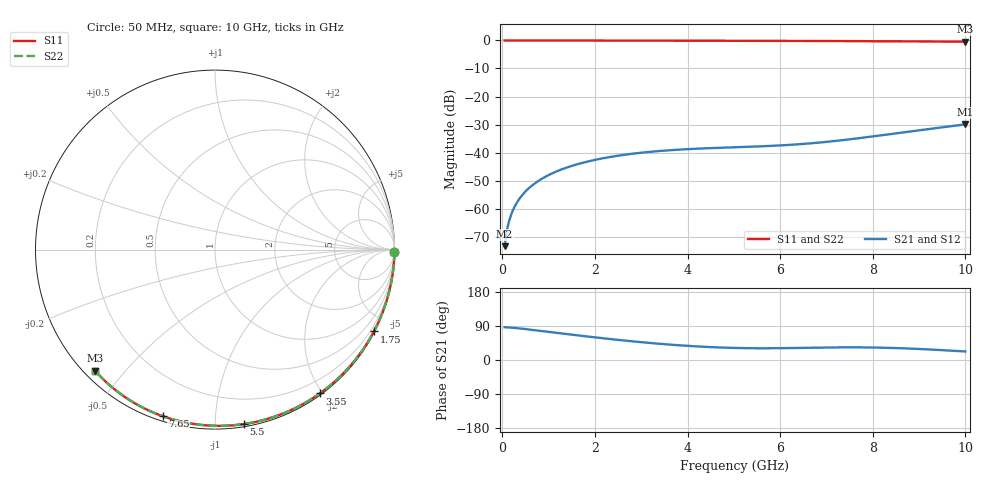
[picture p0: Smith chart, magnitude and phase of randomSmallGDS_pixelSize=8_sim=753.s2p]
! freq	dB(S11)	phase(S11)	dB(S12)	phase(S12)
!  dB(S21)	phase(S21)	dB(S22)	phase(S22)
!S-par simulation data
#  GHz  S  DB  R 50
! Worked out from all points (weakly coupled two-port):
!   200 points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, 50 MHz to 10 GHz, reference 50 ohm
!   highest |S21| = -29.95 dB at 10 GHz (marker M1); lowest = -73.4 dB at 50 MHz (marker M2)
!   lowest |S11| = -0.4 dB at 10 GHz (marker M3), VSWR 38.89, Z = 1.51 - j20.9 ohm
!   |S11| at or under -10 dB: nowhere
!   |S22| runs from -0.4 to 0.0 dB; largest |S21 - S12| = 0
!   S11 on the Smith chart (normalised r, x): 50 MHz: open; 1.75 GHz: 0.04, -4.13; 3.55 GHz: 0.02, -1.97; 5.5 GHz: 0.02, -1.18; 7.65 GHz: 0.02, -0.73; 10 GHz: 0.03, -0.42
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0.05  -0.00 -0.8  -73.41 86.5  -73.41 86.5  -0.00 -0.8
0.1  -0.00 -1.6  -67.65 86.1  -67.65 86.1  -0.00 -1.6
0.15  -0.00 -2.4  -64.22 85.9  -64.22 85.9  -0.00 -2.4
0.2  -0.00 -3.2  -61.77 85.5  -61.77 85.5  -0.00 -3.2
0.25  -0.00 -4.0  -59.85 85.0  -59.85 85.0  -0.00 -4.0
0.35  -0.00 -5.5  -56.96 83.7  -56.96 83.7  -0.00 -5.5
0.5  -0.01 -7.9  -53.90 81.6  -53.90 81.6  -0.01 -7.9
0.7  -0.01 -11.0  -51.03 78.7  -51.03 78.7  -0.01 -11.0
1  -0.02 -15.7  -48.04 74.2  -48.04 74.2  -0.02 -15.7
1.35  -0.03 -21.1  -45.60 69.0  -45.60 69.0  -0.03 -21.1
1.75  -0.03 -27.2  -43.59 63.2  -43.59 63.2  -0.03 -27.2
2.5  -0.05 -38.6  -41.12 53.1  -41.12 53.1  -0.05 -38.6
3.4  -0.07 -51.8  -39.44 42.7  -39.44 42.7  -0.07 -51.8
3.55  -0.07 -53.9  -39.25 41.2  -39.25 41.2  -0.07 -53.9
4.3  -0.09 -64.5  -38.55 35.2  -38.55 35.2  -0.09 -64.5
5.05  -0.11 -74.7  -38.10 31.7  -38.10 31.7  -0.11 -74.7
5.5  -0.13 -80.6  -37.84 31.0  -37.84 31.0  -0.13 -80.6
6.7  -0.18 -95.9  -36.66 32.4  -36.66 32.4  -0.18 -95.9
7.65  -0.24 -107.5  -34.98 33.4  -34.98 33.4  -0.24 -107.5
8.35  -0.29 -115.7  -33.49 32.0  -33.49 32.0  -0.29 -115.7
9.2  -0.36 -125.6  -31.62 27.9  -31.62 27.9  -0.36 -125.6
10  -0.45 -134.7  -29.95 22.4  -29.95 22.4  -0.45 -134.7
